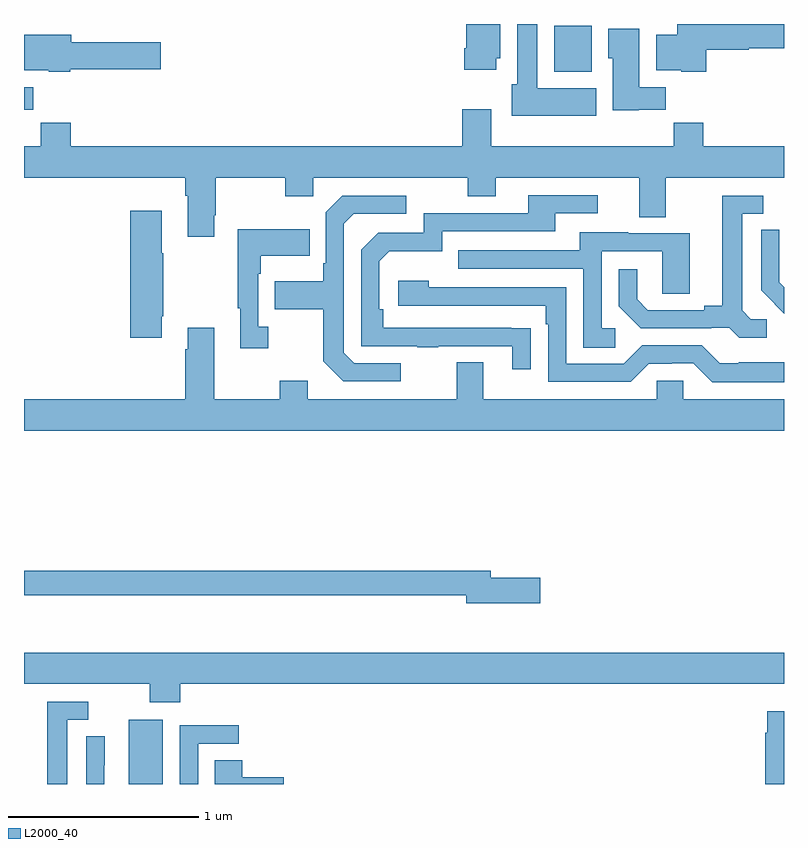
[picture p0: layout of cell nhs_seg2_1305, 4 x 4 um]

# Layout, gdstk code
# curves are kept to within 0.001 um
import gdstk
lib = gdstk.Library(unit=1e-6, precision=1e-09)
def R(c, l, rs):  # rectangles x0, y0, x1, y1
    for r in rs: c.add(gdstk.rectangle(r[:2], r[2:], *l))
def P(c, l, *ps):  # polygons
    for p in ps: c.add(gdstk.Polygon(p, *l))
L2000_40 = (2000, 40)

nhs_seg2_1305 = lib.new_cell('nhs_seg2_1305')
R(nhs_seg2_1305, L2000_40, [(179.552,621.8,179.731,622.138), (179,625.35,179.048,625.468), (181.79,625.55,181.987,625.792)])
P(nhs_seg2_1305, L2000_40, [(182.591,625.664),(182.814,625.664),(182.814,625.672),(183,625.672),(183,625.8),(182.438,625.8),(182.438,625.744),(182.327,625.744),(182.327,625.556),(182.46,625.556),(182.46,625.55),(182.591,625.55)],
  [(181.486,625.62),(181.507,625.62),(181.507,625.8),(181.328,625.8),(181.328,625.672),(181.316,625.672),(181.316,625.56),(181.486,625.56)],
  [(182.011,625.462),(181.702,625.462),(181.702,625.8),(181.595,625.8),(181.595,625.482),(181.568,625.482),(181.568,625.316),(182.011,625.316)],
  [(182.235,625.35),(182.378,625.35),(182.378,625.468),(182.239,625.468),(182.239,625.774),(182.075,625.774),(182.075,625.62),(182.099,625.62),(182.099,625.346),(182.235,625.346)],
  [(179.244,625.561),(179.719,625.561),(179.719,625.703),(179.248,625.703),(179.248,625.744),(179,625.744),(179,625.556),(179.13,625.556),(179.13,625.55),(179.244,625.55)],
  [(179.246,625.28),(179.089,625.28),(179.089,625.156),(179,625.156),(179,624.992),(179.849,624.992),(179.849,624.896),(179.861,624.896),(179.861,624.681),(180.001,624.681),(180.001,624.793),(180.009,624.793),(180.009,624.992),(180.376,624.992),(180.376,624.893),(180.522,624.893),(180.522,624.992),(181.336,624.992),(181.336,624.893),(181.483,624.893),(181.483,624.992),(182.237,624.992),(182.237,624.784),(182.377,624.784),(182.377,624.992),(183,624.992),(183,625.156),(182.576,625.156),(182.576,625.28),(182.419,625.28),(182.419,625.156),(181.459,625.156),(181.459,625.351),(181.307,625.351),(181.307,625.156),(179.246,625.156)],
  [(181.667,624.2),(180.89,624.201),(180.89,624.298),(180.87,624.298),(180.87,624.552),(180.923,624.605),(181.2,624.605),(181.2,624.708),(181.795,624.708),(181.795,624.804),(182.02,624.804),(182.02,624.9),(181.655,624.9),(181.655,624.804),(181.104,624.804),(181.104,624.702),(180.864,624.702),(180.774,624.612),(180.774,624.105),(181.069,624.105),(181.069,624.1),(181.181,624.1),(181.181,624.105),(181.571,624.105),(181.571,623.982),(181.667,623.982)],
  [(180.982,624.015),(180.738,624.015),(180.684,624.069),(180.684,624.75),(180.735,624.801),(181.012,624.801),(181.012,624.897),(180.675,624.897),(180.588,624.81),(180.588,624.541),(180.576,624.541),(180.576,624.445),(180.319,624.445),(180.319,624.298),(180.576,624.298),(180.576,624.025),(180.681,623.919),(180.982,623.919)],
  [(182.908,624.246),(182.826,624.246),(182.779,624.293),(182.779,624.801),(182.89,624.801),(182.89,624.897),(182.675,624.897),(182.675,624.317),(182.579,624.317),(182.579,624.294),(182.284,624.294),(182.227,624.351),(182.227,624.508),(182.13,624.508),(182.13,624.314),(182.246,624.198),(182.618,624.198),(182.618,624.201),(182.712,624.201),(182.764,624.149),(182.908,624.149)],
  [(179.725,624.262),(179.733,624.262),(179.733,624.593),(179.725,624.593),(179.725,624.817),(179.558,624.817),(179.558,624.15),(179.725,624.15)],
  [(180.286,624.206),(180.234,624.206),(180.234,624.485),(180.247,624.485),(180.247,624.581),(180.503,624.581),(180.503,624.721),(180.126,624.721),(180.126,624.305),(180.137,624.305),(180.137,624.093),(180.286,624.093)],
  [(183,624.415),(182.975,624.44),(182.975,624.562),(182.976,624.562),(182.976,624.716),(182.88,624.716),(182.88,624.398),(182.953,624.325),(182.952,624.324),(183,624.276)],
  [(182.113,624.198),(182.04,624.198),(182.04,624.603),(182.358,624.603),(182.358,624.379),(182.503,624.379),(182.503,624.699),(182.179,624.699),(182.179,624.703),(181.925,624.703),(181.925,624.609),(181.285,624.609),(181.285,624.513),(181.944,624.513),(181.944,624.097),(182.113,624.097)],
  [(183,624.019),(182.761,624.019),(182.761,624.015),(182.661,624.015),(182.568,624.108),(182.253,624.108),(182.157,624.012),(181.854,624.012),(181.854,624.414),(181.13,624.414),(181.13,624.448),(180.969,624.448),(180.969,624.318),(181.745,624.318),(181.745,624.221),(181.758,624.221),(181.758,623.916),(182.193,623.916),(182.289,624.012),(182.408,624.012),(182.408,624.015),(182.523,624.015),(182.623,623.915),(183,623.915)],
  [(183,623.824),(182.469,623.824),(182.469,623.922),(182.331,623.922),(182.331,623.824),(181.417,623.824),(181.417,624.019),(181.277,624.019),(181.277,623.824),(180.493,623.824),(180.493,623.923),(180.346,623.923),(180.346,623.824),(180.001,623.824),(180.001,624.202),(179.861,624.202),(179.861,624.089),(179.849,624.089),(179.849,623.824),(179,623.824),(179,623.66),(183,623.66)],
  [(181.717,622.886),(181.456,622.886),(181.456,622.922),(179,622.922),(179,622.794),(181.328,622.794),(181.328,622.751),(181.717,622.751)],
  [(179.822,622.328),(183,622.328),(183,622.492),(179,622.492),(179,622.328),(179.662,622.328),(179.662,622.229),(179.822,622.229)],
  [(179.227,622.137),(179.338,622.137),(179.338,622.233),(179.123,622.233),(179.123,621.8),(179.227,621.8)],
  [(183,622.183),(182.912,622.183),(182.912,622.07),(182.9,622.07),(182.9,621.8),(183,621.8)],
  [(179.916,622.011),(180.13,622.011),(180.13,622.11),(179.82,622.11),(179.82,621.8),(179.916,621.8)],
  [(179.423,621.898),(179.424,621.898),(179.424,622.052),(179.328,622.052),(179.328,621.8),(179.423,621.8)],
  [(180.367,621.836),(180.149,621.836),(180.149,621.926),(180.005,621.926),(180.005,621.8),(180.367,621.8)])

lib.write_gds('nhs_seg2_1305.gds')
